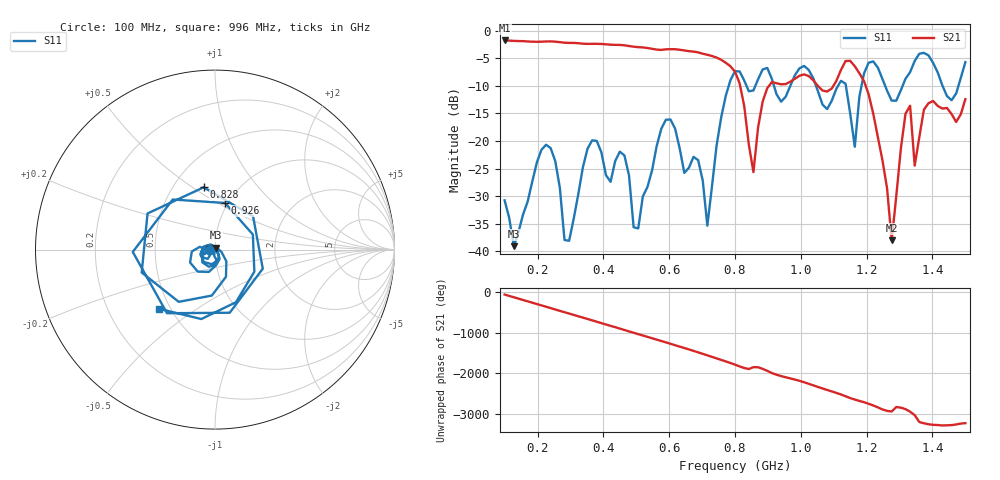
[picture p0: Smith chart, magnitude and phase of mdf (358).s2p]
! NanoVNA-App
! Date: 2025-09-25 15:41:12
! Start: 100MHz Stop: 1,5GHz Points: 101
! S-Parameter data: F S11 S21 S12 S22
# Hz S RI R 50
!  Frequency  S11_Real  S11_Imag  S21_Real  S21_Imag  S12_Real  S12_Imag  S22_Real  S22_Imag
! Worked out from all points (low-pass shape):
!   101 points, 100 MHz to 1.5 GHz, reference 50 ohm
!   highest |S21| = -1.80 dB at 100 MHz (marker M1); lowest = -38.0 dB at 1.276 GHz (marker M2)
!   |S21| within 3 dB of the highest: start of sweep to 739.3 MHz
!   lowest |S11| = -39.0 dB at 128 MHz (marker M3), VSWR 1.02, Z = 50.3 + j1.07 ohm
!   |S11| at or under -10 dB: start of sweep to 781.1 MHz; 918.3 MHz to 968.2 MHz (49.83 MHz wide, 5.28 % of centre); 1.046 GHz to 1.113 GHz (67.26 MHz wide, 6.23 % of centre)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
!   S12 and S22 are empty: the file has one direction only
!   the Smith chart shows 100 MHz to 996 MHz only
!   S11 on the Smith chart (normalised r, x): 100 MHz: 0.94, -0.01; 828 MHz: 0.70, +0.55; 926 MHz: 0.97, +0.54; 996 MHz: 0.43, -0.36
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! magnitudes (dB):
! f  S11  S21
! 100 MHz  -30.7  -1.8
! 128 MHz  -39.0  -1.9
! 212 MHz  -21.6  -2.0
! 282 MHz  -37.9  -2.2
! 338 MHz  -24.7  -2.4
! 464 MHz  -22.6  -2.7
! 506 MHz  -35.8  -3.0
! 576 MHz  -17.8  -3.5
! 716 MHz  -35.3  -4.4
! 800 MHz  -7.4  -7.5
! 828 MHz  -9.1  -13.7
! 856 MHz  -10.9  -25.6
! 926 MHz  -11.5  -9.5
! 996 MHz  -6.8  -8.2
! 1.038 GHz  -8.7  -9.0
! 1.136 GHz  -9.6  -5.5
! 1.164 GHz  -21.0  -6.5
! 1.192 GHz  -7.8  -9.2
! 1.276 GHz  -12.7  -38.0
! 1.318 GHz  -8.7  -15.1
! 1.346 GHz  -5.5  -24.5
! 1.5 GHz  -5.7  -12.4
